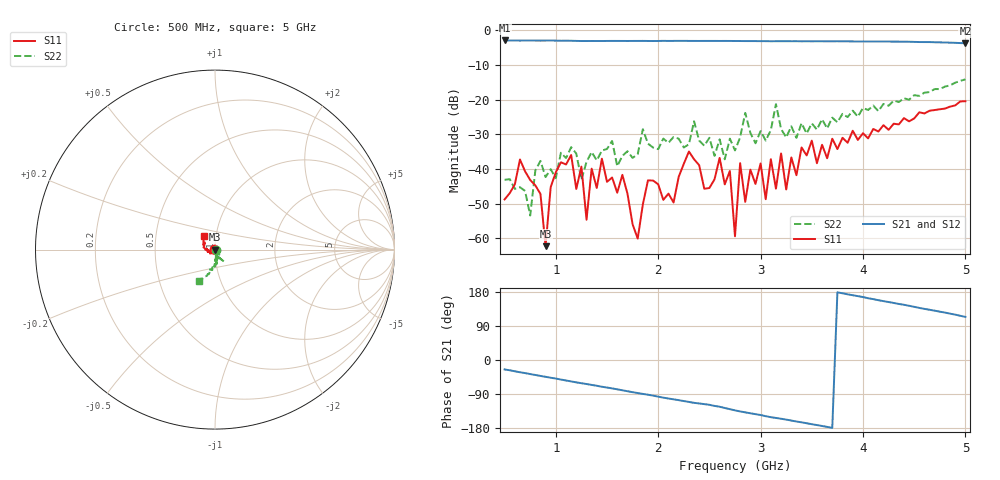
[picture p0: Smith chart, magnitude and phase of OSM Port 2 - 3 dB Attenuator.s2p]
#  HZ  S  RI  R  50.00
! Rohde & Schwarz Vector Network Analyzer
! Rohde-Schwarz,ZNB20-4Port,1311601064101718,2.70
! Created: UTC 10/12/2016, 3:31:59 AM
! freq[Hz]  re:S11  im:S11  re:S21  im:S21  re:S12  im:S12  re:S22  im:S22
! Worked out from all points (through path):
!   91 points, 500 MHz to 5 GHz, reference 50 ohm
!   highest |S21| = -2.99 dB at 500 MHz (marker M1); lowest = -3.8 dB at 5 GHz (marker M2)
!   group delay of S21, straight-line fit = 136 ps
!   lowest |S11| = -62.2 dB at 900 MHz (marker M3), VSWR 1.00, Z = 50 - j0.0596 ohm
!   |S11| at or under -10 dB: start of sweep to end of sweep
!   |S22| runs from -53.4 to -14.2 dB; largest |S21 - S12| = 0.038
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5e8  -0.00306 0.00198  0.6429 -0.2989  0.6414 -0.2944  0.00526 -0.00458
6.5e8  0.00711 -0.0117  0.5959 -0.3777  0.5972 -0.3691  0.00523 0.00155
7.5e8  0.00637 0.00273  0.5646 -0.4276  0.5655 -0.4203  0.00116 -0.00179
8.5e8  0.00346 0.00268  0.5243 -0.4726  0.5268 -0.4653  0.012 -0.00518
9e8  -0.000492 -0.000596  0.505 -0.4935  0.5087 -0.4863  0.00731 -0.00226
1e9  -0.00061 -0.00893  0.463 -0.532  0.461 -0.5311  0.00716 -0.00171
1.15e9  0.0158 -0.000929  0.3873 -0.5853  0.389 -0.5808  0.0151 -0.014
1.25e9  0.0101 -0.00398  0.3343 -0.6101  0.3371 -0.6062  0.00187 -0.00673
1.3e9  0.00177 -0.000559  0.3114 -0.6221  0.313 -0.6187  0.0102 -0.00752
1.45e9  0.0134 0.00422  0.2317 -0.6564  0.2368 -0.6508  0.0155 -0.00983
1.8e9  -0.000807 -0.000578  0.0341 -0.6969  0.043 -0.6939  0.0107 -0.0124
2e9  0.00504 -0.00329  -0.0811 -0.6921  -0.072 -0.6922  0.00919 -0.0169
2.6e9  0.00882 -0.0114  -0.3834 -0.5824  -0.4108 -0.5561  0.00811 -0.0254
2.7e9  0.00695 -0.00624  -0.4463 -0.5358  -0.4508 -0.5232  0.00933 -0.0257
2.75e9  -0.00107 -8.2e-05  -0.4739 -0.5104  -0.4666 -0.5089  0.0058 -0.0176
2.8e9  0.00639 -0.0103  -0.4981 -0.4857  -0.482 -0.4945  0.00972 -0.0267
3.05e9  -0.00294 -0.0022  -0.5894 -0.364  -0.5726 -0.3879  0.00539 -0.0251
3.1e9  -0.00104 -0.0138  -0.6036 -0.3358  -0.5888 -0.3626  0.0105 -0.0346
3.25e9  -0.00339 -0.00377  -0.6382 -0.2677  -0.6292 -0.283  0.00612 -0.0278
3.5e9  -0.00886 -0.024  -0.6778 -0.1269  -0.6723 -0.1392  0.0111 -0.044
4.25e9  -0.0364 -0.00395  -0.6086 0.3109  -0.6162 0.291  -0.00283 -0.0813
5e9  -0.0593 0.0738  -0.261 0.5909  -0.2686 0.5825  -0.0883 -0.1742
